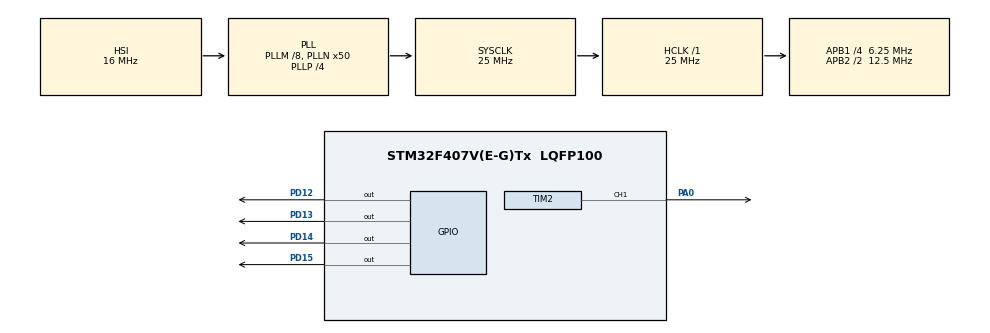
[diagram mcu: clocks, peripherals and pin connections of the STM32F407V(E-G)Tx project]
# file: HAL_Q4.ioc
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Mcu.Family=STM32F4
Mcu.Name=STM32F407V(E-G)Tx
Mcu.Package=LQFP100
NVIC.PriorityGroup=NVIC_PRIORITYGROUP_0
NVIC.TIM2_IRQn=true\:0\:0\:false\:false\:true\:true\:true\:true
PA0-WKUP.Signal=S_TIM2_CH1_ETR
PD12.Signal=GPIO_Output
PD13.Signal=GPIO_Output
PD14.Signal=GPIO_Output
PD15.Signal=GPIO_Output
ProjectManager.HeapSize=0x200
ProjectManager.StackSize=0x400
ProjectManager.TargetToolchain=STM32CubeIDE
RCC.48MHZClocksFreq_Value=14285714.285714285
RCC.AHBFreq_Value=25000000
RCC.APB1CLKDivider=RCC_HCLK_DIV4
RCC.APB1Freq_Value=6250000
RCC.APB1TimFreq_Value=12500000
RCC.APB2CLKDivider=RCC_HCLK_DIV2
RCC.APB2Freq_Value=12500000
RCC.APB2TimFreq_Value=25000000
RCC.CortexFreq_Value=25000000
RCC.HCLKFreq_Value=25000000
RCC.HSE_VALUE=8000000
RCC.HSI_VALUE=16000000
RCC.LSE_VALUE=32768
RCC.PLLM=8
RCC.PLLN=50
RCC.PLLP=RCC_PLLP_DIV4
RCC.PLLQ=7
RCC.SYSCLKFreq_VALUE=25000000
RCC.SYSCLKSource=RCC_SYSCLKSOURCE_PLLCLK
RCC.VCOOutputFreq_Value=100000000
SH.S_TIM2_CH1_ETR.0=TIM2_CH1,Output Compare1 CH1
TIM2.Channel-Output\ Compare1\ CH1=TIM_CHANNEL_1
TIM2.Period=1249
TIM2.Prescaler=9999
TIM2.Pulse-Output\ Compare1\ CH1=1248
VP_TIM2_VS_ClockSourceINT.Mode=Internal
board=STM32F407G-DISC1

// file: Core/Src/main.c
/* USER CODE BEGIN Header */
/**
  ******************************************************************************
  * @file           : main.c
  * @brief          : Main program body
  ******************************************************************************
  */

/* USER CODE END Header */

#include "main.h"

TIM_HandleTypeDef htim2;

/* USER CODE BEGIN PV */

uint8_t led = 0;

/* USER CODE END PV */

void SystemClock_Config(void);

static void MX_GPIO_Init(void);

static void MX_TIM2_Init(void);

int main(void)
{

  /* MCU Configuration--------------------------------------------------------*/

  HAL_Init();

  /* Configure the system clock */

  SystemClock_Config();

  /* Initialize all configured peripherals */

  MX_GPIO_Init();

  MX_TIM2_Init();

  /* USER CODE BEGIN 2 */

  /*
   * Start TIM2 Channel 1
   * in Output Compare Interrupt mode
   */
  HAL_TIM_OC_Start_IT(&htim2, TIM_CHANNEL_1);

  /* USER CODE END 2 */

  /* Infinite loop */

  while (1)
  {

    /* USER CODE BEGIN 3 */

    /*
     * Nothing is required here.
     *
     * LED changing is handled by
     * Output Compare interrupt.
     */

  }

  /* USER CODE END 3 */
}

void SystemClock_Config(void)
{
  RCC_OscInitTypeDef RCC_OscInitStruct = {0};

  RCC_ClkInitTypeDef RCC_ClkInitStruct = {0};

  /** Configure the main internal regulator output voltage
  */

  __HAL_RCC_PWR_CLK_ENABLE();

  __HAL_PWR_VOLTAGESCALING_CONFIG(PWR_REGULATOR_VOLTAGE_SCALE1);

  /** Initializes the RCC Oscillators
  */

  RCC_OscInitStruct.OscillatorType =
      RCC_OSCILLATORTYPE_HSI;

  RCC_OscInitStruct.HSIState =
      RCC_HSI_ON;

  RCC_OscInitStruct.HSICalibrationValue =
      RCC_HSICALIBRATION_DEFAULT;

  RCC_OscInitStruct.PLL.PLLState =
      RCC_PLL_ON;

  RCC_OscInitStruct.PLL.PLLSource =
      RCC_PLLSOURCE_HSI;

  RCC_OscInitStruct.PLL.PLLM = 8;

  RCC_OscInitStruct.PLL.PLLN = 50;

  RCC_OscInitStruct.PLL.PLLP =
      RCC_PLLP_DIV4;

  RCC_OscInitStruct.PLL.PLLQ = 7;

  if (HAL_RCC_OscConfig(&RCC_OscInitStruct) != HAL_OK)
  {
    Error_Handler();
  }

  /** Initializes the CPU, AHB and APB buses clocks
  */

  RCC_ClkInitStruct.ClockType =
      RCC_CLOCKTYPE_HCLK |
      RCC_CLOCKTYPE_SYSCLK |
      RCC_CLOCKTYPE_PCLK1 |
      RCC_CLOCKTYPE_PCLK2;

  RCC_ClkInitStruct.SYSCLKSource =
      RCC_SYSCLKSOURCE_PLLCLK;

  RCC_ClkInitStruct.AHBCLKDivider =
      RCC_SYSCLK_DIV1;

  RCC_ClkInitStruct.APB1CLKDivider =
      RCC_HCLK_DIV4;

  RCC_ClkInitStruct.APB2CLKDivider =
      RCC_HCLK_DIV2;

  if (HAL_RCC_ClockConfig(&RCC_ClkInitStruct,
                          FLASH_LATENCY_0) != HAL_OK)
  {
    Error_Handler();
  }
}

static void MX_TIM2_Init(void)
{

  TIM_ClockConfigTypeDef sClockSourceConfig = {0};

  TIM_MasterConfigTypeDef sMasterConfig = {0};

  TIM_OC_InitTypeDef sConfigOC = {0};

  htim2.Instance = TIM2;

  /*
   * TIM2 clock = 12.5 MHz
   *
   * Prescaler = 9999
   *
   * Timer frequency =
   * 12,500,000 / 10,000
   * = 1250 Hz
   */
  htim2.Init.Prescaler = 9999;

  htim2.Init.CounterMode =
      TIM_COUNTERMODE_UP;

  /*
   * 1250 counts = 1 second
   */
  htim2.Init.Period = 1249;

  htim2.Init.ClockDivision =
      TIM_CLOCKDIVISION_DIV1;

  htim2.Init.AutoReloadPreload =
      TIM_AUTORELOAD_PRELOAD_DISABLE;

  if (HAL_TIM_Base_Init(&htim2) != HAL_OK)
  {
    Error_Handler();
  }

  sClockSourceConfig.ClockSource =
      TIM_CLOCKSOURCE_INTERNAL;

  if (HAL_TIM_ConfigClockSource(&htim2,
                                &sClockSourceConfig) != HAL_OK)
  {
    Error_Handler();
  }

  if (HAL_TIM_OC_Init(&htim2) != HAL_OK)
  {
    Error_Handler();
  }

  sMasterConfig.MasterOutputTrigger =
      TIM_TRGO_RESET;

  sMasterConfig.MasterSlaveMode =
      TIM_MASTERSLAVEMODE_DISABLE;

  if (HAL_TIMEx_MasterConfigSynchronization(
          &htim2,
          &sMasterConfig) != HAL_OK)
  {
    Error_Handler();
  }

  /*
   * Output Compare Mode
   */
  sConfigOC.OCMode =
      TIM_OCMODE_TIMING;

  /*
   * Compare value
   */
  sConfigOC.Pulse = 1248;

  sConfigOC.OCPolarity =
      TIM_OCPOLARITY_HIGH;

  sConfigOC.OCFastMode =
      TIM_OCFAST_DISABLE;

  if (HAL_TIM_OC_ConfigChannel(
          &htim2,
          &sConfigOC,
          TIM_CHANNEL_1) != HAL_OK)
  {
    Error_Handler();
  }

  HAL_TIM_MspPostInit(&htim2);
}

static void MX_GPIO_Init(void)
{
  GPIO_InitTypeDef GPIO_InitStruct = {0};

  /* GPIO Ports Clock Enable */

  __HAL_RCC_GPIOA_CLK_ENABLE();

  __HAL_RCC_GPIOD_CLK_ENABLE();

  /*
   * Initially turn OFF all LEDs
   */

  HAL_GPIO_WritePin(
      GPIOD,
      GPIO_PIN_12 |
      GPIO_PIN_13 |
      GPIO_PIN_14 |
      GPIO_PIN_15,
      GPIO_PIN_RESET
  );

  /*
   * Configure PD12, PD13, PD14, PD15
   * as output
   */

  GPIO_InitStruct.Pin =
      GPIO_PIN_12 |
      GPIO_PIN_13 |
      GPIO_PIN_14 |
      GPIO_PIN_15;

  GPIO_InitStruct.Mode =
      GPIO_MODE_OUTPUT_PP;

  GPIO_InitStruct.Pull =
      GPIO_NOPULL;

  GPIO_InitStruct.Speed =
      GPIO_SPEED_FREQ_LOW;

  HAL_GPIO_Init(
      GPIOD,
      &GPIO_InitStruct
  );

}

/* USER CODE BEGIN 4 */

/**
  * @brief  Output Compare callback
  *
  * This function is called whenever
  * TIM2 reaches the compare value.
  */

void HAL_TIM_OC_DelayElapsedCallback(
    TIM_HandleTypeDef *htim)
{
    /*
     * Make sure the interrupt is from
     * TIM2 Channel 1
     */
    if (htim->Instance == TIM2 &&
        htim->Channel == HAL_TIM_ACTIVE_CHANNEL_1)
    {
        /*
         * Turn OFF all LEDs first
         */
        HAL_GPIO_WritePin(
            GPIOD,
            GPIO_PIN_12 |
            GPIO_PIN_13 |
            GPIO_PIN_14 |
            GPIO_PIN_15,
            GPIO_PIN_RESET
        );

        /*
         * Anti-clockwise LED sequence
         *
         * PD12
         *   ↓
         * PD13
         *   ↓
         * PD14
         *   ↓
         * PD15
         *   ↓
         * PD12
         */

        if (led == 0)
        {
            HAL_GPIO_WritePin(
                GPIOD,
                GPIO_PIN_12,
                GPIO_PIN_SET
            );
        }

        else if (led == 1)
        {
            HAL_GPIO_WritePin(
                GPIOD,
                GPIO_PIN_13,
                GPIO_PIN_SET
            );
        }

        else if (led == 2)
        {
            HAL_GPIO_WritePin(
                GPIOD,
                GPIO_PIN_14,
                GPIO_PIN_SET
            );
        }

        else if (led == 3)
        {
            HAL_GPIO_WritePin(
                GPIOD,
                GPIO_PIN_15,
                GPIO_PIN_SET
            );
        }

        /*
         * Move to next LED
         */
        led++;

        /*
         * After PD15, go back to PD12
         */
        if (led >= 4)
        {
            led = 0;
        }
    }
}

/* USER CODE END 4 */

void Error_Handler(void)
{
  __disable_irq();
  while (1)
  {
  }
}
